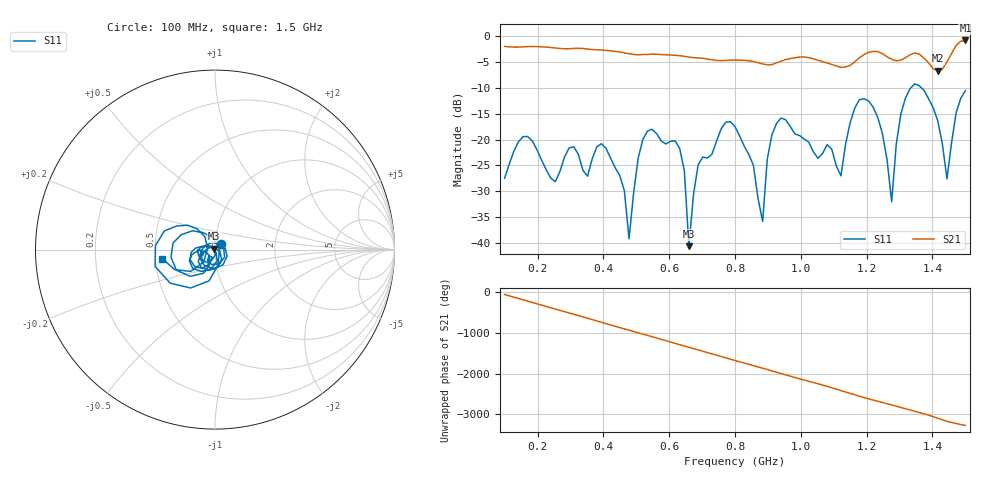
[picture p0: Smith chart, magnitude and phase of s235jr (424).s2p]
! NanoVNA-App
! Date: 2025-09-25 15:07:28
! Start: 100MHz Stop: 1,5GHz Points: 101
! S-Parameter data: F S11 S21 S12 S22
# Hz S RI R 50
!  Frequency  S11_Real  S11_Imag  S21_Real  S21_Imag  S12_Real  S12_Imag  S22_Real  S22_Imag
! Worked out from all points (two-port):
!   101 points, 100 MHz to 1.5 GHz, reference 50 ohm
!   highest |S21| = -0.80 dB at 1.5 GHz (marker M1); lowest = -6.7 dB at 1.416 GHz (marker M2)
!   |S21| within 3 dB of the highest: start of sweep to 638.4 MHz; 1.186 GHz to 1.258 GHz (72.3 MHz wide, 5.92 % of centre) (the widest 2 of 4)
!   lowest |S11| = -40.6 dB at 660 MHz (marker M3), VSWR 1.02, Z = 49.3 + j0.561 ohm
!   |S11| at or under -10 dB: start of sweep to 1.334 GHz; 1.367 GHz to end of sweep
!   S12 and S22 are empty: the file has one direction only
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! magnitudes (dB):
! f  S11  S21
! 100 MHz  -27.5  -2.0
! 156 MHz  -19.4  -2.0
! 338 MHz  -25.9  -2.4
! 408 MHz  -21.7  -2.7
! 478 MHz  -39.2  -3.4
! 520 MHz  -20.0  -3.5
! 576 MHz  -20.3  -3.5
! 632 MHz  -21.7  -3.7
! 660 MHz  -40.6  -4.0
! 688 MHz  -24.9  -4.2
! 800 MHz  -17.5  -4.6
! 884 MHz  -35.8  -5.3
! 926 MHz  -16.9  -5.1
! 1.038 GHz  -22.3  -4.4
! 1.122 GHz  -27.0  -6.0
! 1.206 GHz  -12.5  -3.1
! 1.276 GHz  -32.0  -4.4
! 1.304 GHz  -15.0  -4.6
! 1.332 GHz  -10.1  -3.6
! 1.416 GHz  -16.3  -6.7
! 1.444 GHz  -27.6  -4.9
! 1.5 GHz  -10.5  -0.8
